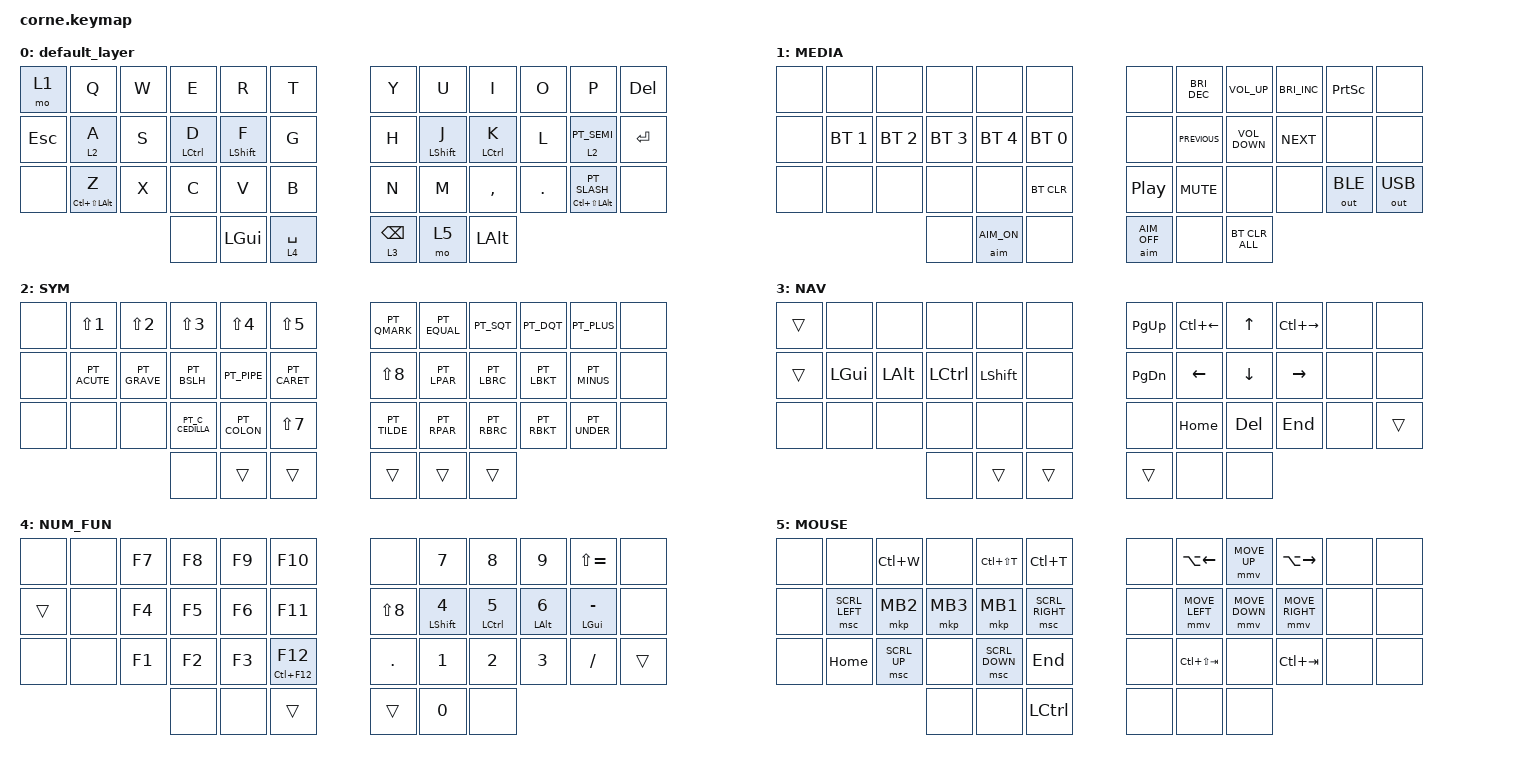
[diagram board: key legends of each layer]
/*https://github.com/viniciuscrp/zmk-config.git
 * Copyright (c) 2020 The ZMK Contributors
 *
 * SPDX-License-Identifier: MIT
 */

#define ZMK_POINTING_DEFAULT_MOVE_VAL 1200
#define ZMK_POINTING_DEFAULT_SCRL_VAL 20

#include <behaviors.dtsi>
#include <behaviors/anti_idle_mode.dtsi>
#include <dt-bindings/zmk/bt.h>
#include <dt-bindings/zmk/keys.h>
#include <dt-bindings/zmk/outputs.h>
#include <dt-bindings/zmk/pointing.h>
#include <dt-bindings/anti_idle_mode.h>
#include <locale/keys_pt_abnt2.h>

&mt { flavor = "tap-preferred"; };

&soft_off { hold-time-ms = <1000>; };

&sk { quick-release; };

&sl {
    ignore-modifiers;
    release-after-ms = <3000>;
};

&caps_word { continue-list = <UNDERSCORE BACKSPACE DELETE PIPE SLASH BACKSLASH MINUS GRAVE SINGLE_QUOTE DOUBLE_QUOTES>; };

/ {
    combos {
        compatible = "zmk,combos";

        tab_combo {
            bindings = <&kp TAB>;
            key-positions = <16 15>;
			layers = <0>;
        };
        caps_lock_combo {
            bindings = <&kp CAPS>;
            key-positions = <6 7>;
            layers = <0>;
        };
        caps_word_combo {
            bindings = <&caps_word>;
            key-positions = <4 5>;
            layers = <0>;
        };
    };

    behaviors {
        lt: layer_tap {
            compatible = "zmk,behavior-hold-tap";
            #binding-cells = <2>;
            flavor = "tap-preferred";
            tapping-term-ms = <200>;
            quick-tap-ms = <175>;
            bindings = <&mo>, <&kp>;
        };
    };

    anti_idle {
        compatible = "zmk,anti-idle-generic";
        interval-ms = <5000>; // How often to send actions (ms)
        bindings = <&mmv MOVE_LEFT &mmv MOVE_RIGHT>; // Actions to perform (move mouse down then up)
        tap_ms = <80>; // Duration of each action (ms)
        wait_ms = <200>; // Delay between actions (ms)
    };

    keymap {
        compatible = "zmk,keymap";

        default_layer {
            bindings = <
&mo 1       &kp Q               &kp W         &kp E         &kp R        &kp T            &kp Y  &kp U         &kp I        &kp O    &kp P                      &kp DELETE
&kp ESCAPE  &lt 2 A             &kp S         &mt LCTRL D   &mt LSHFT F  &kp G            &kp H  &mt LSHIFT J  &mt LCTRL K  &kp L    &lt 2 PT_SEMI              &kp ENTER
&none       &mt LC(LS(LALT)) Z  &kp X         &kp C         &kp V        &kp B            &kp N  &kp M         &kp COMMA    &kp DOT  &mt LC(LS(LALT)) PT_SLASH  &none
                                &none         &kp LEFT_GUI  &lt 4 SPACE  &lt 3 BACKSPACE  &mo 5  &kp LEFT_ALT 
            >;
        };

        MEDIA {
            bindings = <
&none  &none         &none         &none         &none         &none         &none         &kp C_BRIGHTNESS_DEC  &kp C_VOLUME_UP    &kp C_BRIGHTNESS_INC  &kp PRINTSCREEN  &none
&none  &bt BT_SEL 1  &bt BT_SEL 2  &bt BT_SEL 3  &bt BT_SEL 4  &bt BT_SEL 0  &none         &kp C_PREVIOUS        &kp C_VOLUME_DOWN  &kp C_NEXT            &none            &none
&none  &none         &none         &none         &none         &bt BT_CLR    &kp C_PP      &kp C_MUTE            &none              &none                 &out OUT_BLE     &out OUT_USB
                                   &none         &aim AIM_ON   &none         &aim AIM_OFF  &none                 &bt BT_CLR_ALL
            >;
        };

        SYMBOLS {
            bindings = <
&none  &kp LS(N1)    &kp LS(N2)    &kp LS(N3)        &kp LS(N4)    &kp LS(N5)    &kp PT_QMARK  &kp PT_EQUAL  &kp PT_SQT   &kp PT_DQT   &kp PT_PLUS   &none
&none  &kp PT_ACUTE  &kp PT_GRAVE  &kp PT_BSLH       &kp PT_PIPE   &kp PT_CARET  &kp LS(N8)    &kp PT_LPAR   &kp PT_LBRC  &kp PT_LBKT  &kp PT_MINUS  &none
&none  &none         &none         &kp PT_C_CEDILLA  &kp PT_COLON  &kp LS(N7)    &kp PT_TILDE  &kp PT_RPAR   &kp PT_RBRC  &kp PT_RBKT  &kp PT_UNDER  &none
                                   &none             &trans        &trans        &trans        &trans        &trans
            >;

            label = "SYM";
        };

        NAVIGATION {
            bindings = <
&trans  &none     &none     &none      &none      &none     &kp PG_UP      &kp LC(LEFT)    &kp UP_ARROW  &kp LC(RIGHT)  &none  &none
&trans  &kp LGUI  &kp LALT  &kp LCTRL  &kp LSHFT  &none     &kp PAGE_DOWN  &kp LEFT_ARROW  &kp DOWN      &kp RIGHT      &none  &none
&none   &none     &none     &none      &none      &none     &none          &kp HOME        &kp DEL       &kp END        &none  &trans
                            &none      &trans     &trans    &trans         &none           &none
            >;

            label = "NAV";
        };

        NUMBERS_FUNCTION {
            bindings = <
&none   &none  &kp F7  &kp F8  &kp F9  &kp F10            &none       &kp N7        &kp N8        &kp N9           &kp LS(EQUAL)   &none
&trans  &none  &kp F4  &kp F5  &kp F6  &kp F11            &kp LS(N8)  &mt LSHFT N4  &mt LCTRL N5  &mt LEFT_ALT N6  &mt LGUI MINUS  &none
&none   &none  &kp F1  &kp F2  &kp F3  &mt LC(F12) F12    &kp DOT     &kp N1        &kp N2        &kp N3           &kp FSLH        &trans
                       &none   &none   &trans             &trans      &kp NUMBER_0  &none
            >;

            label = "NUM_FUN";
        };

        MOUSE {
            bindings = <
&none  &none           &kp LC(W)     &none     &kp LC(LS(T))   &kp LC(T)          &none  &kp LA(LEFT)     &mmv MOVE_UP    &kp LA(RIGHT)    &none  &none
&none  &msc SCRL_LEFT  &mkp MB2      &mkp MB3  &mkp MB1        &msc SCRL_RIGHT    &none  &mmv MOVE_LEFT   &mmv MOVE_DOWN  &mmv MOVE_RIGHT  &none  &none
&none  &kp HOME        &msc SCRL_UP  &none     &msc SCRL_DOWN  &kp END            &none  &kp LC(LS(TAB))  &none           &kp LC(TAB)      &none  &none
                                     &none     &none           &kp LCTRL          &none  &none            &none
            >;

            label = "MOUSE";
        };
    };
};
